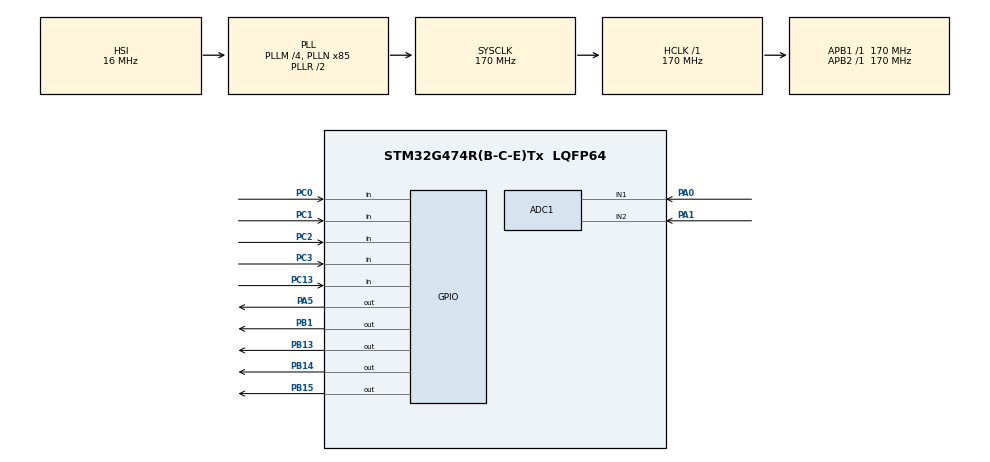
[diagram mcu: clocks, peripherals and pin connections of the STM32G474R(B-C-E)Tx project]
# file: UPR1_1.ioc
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ADC1.Channel-0\#ChannelRegularConversion=ADC_CHANNEL_1
ADC1.Channel-1\#ChannelRegularConversion=ADC_CHANNEL_2
ADC1.NbrOfConversion=2
ADC1.NbrOfConversionFlag=1
ADC1.OffsetNumber-0\#ChannelRegularConversion=ADC_OFFSET_NONE
ADC1.OffsetNumber-1\#ChannelRegularConversion=ADC_OFFSET_NONE
ADC1.Rank-0\#ChannelRegularConversion=1
ADC1.Rank-1\#ChannelRegularConversion=2
ADC1.SamplingTime-0\#ChannelRegularConversion=ADC_SAMPLETIME_2CYCLES_5
ADC1.SamplingTime-1\#ChannelRegularConversion=ADC_SAMPLETIME_2CYCLES_5
ADC1.master=1
FREERTOS.Tasks01=defaultTask,24,128,StartDefaultTask,Default,NULL,Dynamic,NULL,NULL;T10ms,8,128,Task10ms,Default,NULL,Dynamic,NULL,NULL;T100ms,8,128,Task100ms,Default,NULL,Dynamic,NULL,NULL
Mcu.Family=STM32G4
Mcu.Name=STM32G474R(B-C-E)Tx
Mcu.Package=LQFP64
NUCLEO-G474RE.BUTTON=1
NUCLEO-G474RE.LD2=true
NUCLEO-G474RE.VCP=true
NVIC.ADC1_2_IRQn=true\:5\:0\:false\:false\:true\:true\:true\:true\:true
NVIC.EXTI15_10_IRQn=true\:5\:0\:false\:false\:true\:true\:true\:true\:true
NVIC.PriorityGroup=NVIC_PRIORITYGROUP_4
PA0.Mode=IN1-Single-Ended
PA0.Signal=ADC1_IN1
PA1.Mode=IN2-Single-Ended
PA1.Signal=ADC1_IN2
PA13.GPIO_Label=T_SWDIO
PA13.Signal=SYS_JTMS-SWDIO
PA14.GPIO_Label=T_SWCLK
PA14.Signal=SYS_JTCK-SWCLK
PA2.Signal=LPUART1_TX
PA3.Signal=LPUART1_RX
PA5.Signal=GPIO_Output
PB1.Signal=GPIO_Output
PB13.Signal=GPIO_Output
PB14.Signal=GPIO_Output
PB15.Signal=GPIO_Output
PB3.GPIO_Label=T_SWO
PB3.Signal=SYS_JTDO-SWO
PC0.GPIO_PuPd=GPIO_PULLUP
PC0.Signal=GPIO_Input
PC1.GPIO_PuPd=GPIO_PULLUP
PC1.Signal=GPIO_Input
PC13.Signal=GPIO_Input
PC14-OSC32_IN.GPIO_Label=RCC_OSC32_IN
PC14-OSC32_IN.Signal=RCC_OSC32_IN
PC15-OSC32_OUT.GPIO_Label=RCC_OSC32_OUT
PC15-OSC32_OUT.Signal=RCC_OSC32_OUT
PC2.GPIO_PuPd=GPIO_PULLUP
PC2.Signal=GPIO_Input
PC3.GPIO_PuPd=GPIO_PULLUP
PC3.Signal=GPIO_Input
PF0-OSC_IN.GPIO_Label=RCC_OSC_IN
PF0-OSC_IN.Signal=RCC_OSC_IN
PF1-OSC_OUT.GPIO_Label=RCC_OSC_OUT
PF1-OSC_OUT.Signal=RCC_OSC_OUT
ProjectManager.HeapSize=0x200
ProjectManager.StackSize=0x400
ProjectManager.TargetToolchain=STM32CubeIDE
RCC.ADC12Freq_Value=170000000
RCC.ADC345Freq_Value=170000000
RCC.AHBFreq_Value=170000000
RCC.APB1Freq_Value=170000000
RCC.APB1TimFreq_Value=170000000
RCC.APB2Freq_Value=170000000
RCC.APB2TimFreq_Value=170000000
RCC.CortexFreq_Value=170000000
RCC.EXTERNAL_CLOCK_VALUE=12288000
RCC.HCLKFreq_Value=170000000
RCC.HSE_VALUE=24000000
RCC.HSI48_VALUE=48000000
RCC.HSI_VALUE=16000000
RCC.LSE_VALUE=32768
RCC.PLLM=RCC_PLLM_DIV4
RCC.PLLN=85
RCC.RTCClockSelection=RCC_RTCCLKSOURCE_LSE
RCC.SYSCLKFreq_VALUE=170000000
RCC.SYSCLKSource=RCC_SYSCLKSOURCE_PLLCLK
RCC.USBFreq_Value=170000000
RCC.VCOOutputFreq_Value=340000000
VP_FREERTOS_VS_CMSIS_V2.Mode=CMSIS_V2
VP_NUCLEO-G474RE_VS_BSP_COMMON.Mode=COMMON
VP_SYS_VS_DBSignals.Mode=DisableDeadBatterySignals
board=NUCLEO-G474RE

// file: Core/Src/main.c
/* USER CODE BEGIN Header */
/**
  ******************************************************************************
  * @file           : main.c
  * @brief          : Main program body
  ******************************************************************************
  * @attention
  *
  * Copyright (c) 2024 STMicroelectronics.
  * All rights reserved.
  *
  * This software is licensed under terms that can be found in the LICENSE file
  * in the root directory of this software component.
  * If no LICENSE file comes with this software, it is provided AS-IS.
  *
  ******************************************************************************
  */
/* USER CODE END Header */
#include "main.h"
#include "cmsis_os.h"

/* USER CODE BEGIN PM */
char Button1State=1;

char Button2State=1;

char Button3State=1;

char Button4State=1;

uint32_t bufferValues[2];

//void FrMove(void)
//{
//	 HAL_GPIO_WritePin(GPIOB, GPIO_PIN_1, 1);
//}
//void BackMove(void)
//{
//	 HAL_GPIO_WritePin(GPIOB, GPIO_PIN_2, 1);
//}
//void UpMove(void)
//{
//
//	 HAL_GPIO_WritePin(GPIOB, GPIO_PIN_14, Button3State);
//
//}
//void DownMove(void)
//{
//
//	 HAL_GPIO_WritePin(GPIOB, GPIO_PIN_14, Button3State);
//
//}
/* USER CODE END PM */

COM_InitTypeDef BspCOMInit;
ADC_HandleTypeDef hadc1;

/* Definitions for defaultTask */
osThreadId_t defaultTaskHandle;
const osThreadAttr_t defaultTask_attributes = {
  .name = "defaultTask",
  .priority = (osPriority_t) osPriorityNormal,
  .stack_size = 128 * 4
};
/* Definitions for T10ms */
osThreadId_t T10msHandle;
const osThreadAttr_t T10ms_attributes = {
  .name = "T10ms",
  .priority = (osPriority_t) osPriorityLow,
  .stack_size = 128 * 4
};
/* Definitions for T100ms */
osThreadId_t T100msHandle;
const osThreadAttr_t T100ms_attributes = {
  .name = "T100ms",
  .priority = (osPriority_t) osPriorityLow,
  .stack_size = 128 * 4
};
/* USER CODE BEGIN PV */
volatile uint8_t ledState = 0; // Variable to hold LED state
/* USER CODE END PV */

void SystemClock_Config(void);
static void MX_GPIO_Init(void);
static void MX_ADC1_Init(void);
void StartDefaultTask(void *argument);
void Task10ms(void *argument);
void Task100ms(void *argument);

/* USER CODE BEGIN PFP */
void toggleLED(void);
/* USER CODE END PFP */

/* USER CODE BEGIN 0 */
void toggleLED(void) {
    if (ledState) {
        BSP_LED_Off(LED_GREEN);
        ledState = 0;
    } else {
        BSP_LED_On(LED_GREEN);
        ledState = 1;
    }
}
/* USER CODE END 0 */

int main(void)
{

  /* USER CODE BEGIN 1 */
	uint8_t Value=0;
  /* USER CODE END 1 */

  /* MCU Configuration--------------------------------------------------------*/

  /* Reset of all peripherals, Initializes the Flash interface and the Systick. */
  HAL_Init();

  /* Configure the system clock */
  SystemClock_Config();

  /* Initialize all configured peripherals */
  MX_GPIO_Init();
  MX_ADC1_Init();
  /* USER CODE BEGIN 2 */
    BSP_LED_Init(LED_GREEN); // Initialize the LED
  /* USER CODE END 2 */

  /* Init scheduler */
  osKernelInitialize();

  /* Create the thread(s) */
  /* creation of defaultTask */
  defaultTaskHandle = osThreadNew(StartDefaultTask, NULL, &defaultTask_attributes);

  /* creation of T10ms */
  T10msHandle = osThreadNew(Task10ms, NULL, &T10ms_attributes);

  /* creation of T100ms */
  T100msHandle = osThreadNew(Task100ms, NULL, &T100ms_attributes);

  /* Initialize led */
  BSP_LED_Init(LED_GREEN);

  /* Initialize USER push-button, will be used to trigger an interrupt each time it's pressed.*/
  BSP_PB_Init(BUTTON_USER, BUTTON_MODE_EXTI);

  /* Initialize COM1 port (115200, 8 bits (7-bit data + 1 stop bit), no parity */
  BspCOMInit.BaudRate   = 115200;
  BspCOMInit.WordLength = COM_WORDLENGTH_8B;
  BspCOMInit.StopBits   = COM_STOPBITS_1;
  BspCOMInit.Parity     = COM_PARITY_NONE;
  BspCOMInit.HwFlowCtl  = COM_HWCONTROL_NONE;
  if (BSP_COM_Init(COM1, &BspCOMInit) != BSP_ERROR_NONE)
  {
    Error_Handler();
  }

  /* Start scheduler */
  osKernelStart();

  /* We should never get here as control is now taken by the scheduler */

  /* Infinite loop */
    while (1)
    {

    /* USER CODE BEGIN 3 */
        // Main loop does nothing, waiting for interrupts32
    }
  /* USER CODE END 3 */
}

void SystemClock_Config(void)
{
  RCC_OscInitTypeDef RCC_OscInitStruct = {0};
  RCC_ClkInitTypeDef RCC_ClkInitStruct = {0};

  /** Configure the main internal regulator output voltage
  */
  HAL_PWREx_ControlVoltageScaling(PWR_REGULATOR_VOLTAGE_SCALE1_BOOST);

  /** Initializes the RCC Oscillators according to the specified parameters
  * in the RCC_OscInitTypeDef structure.
  */
  RCC_OscInitStruct.OscillatorType = RCC_OSCILLATORTYPE_HSI;
  RCC_OscInitStruct.HSIState = RCC_HSI_ON;
  RCC_OscInitStruct.HSICalibrationValue = RCC_HSICALIBRATION_DEFAULT;
  RCC_OscInitStruct.PLL.PLLState = RCC_PLL_ON;
  RCC_OscInitStruct.PLL.PLLSource = RCC_PLLSOURCE_HSI;
  RCC_OscInitStruct.PLL.PLLM = RCC_PLLM_DIV4;
  RCC_OscInitStruct.PLL.PLLN = 85;
  RCC_OscInitStruct.PLL.PLLP = RCC_PLLP_DIV2;
  RCC_OscInitStruct.PLL.PLLQ = RCC_PLLQ_DIV2;
  RCC_OscInitStruct.PLL.PLLR = RCC_PLLR_DIV2;
  if (HAL_RCC_OscConfig(&RCC_OscInitStruct) != HAL_OK)
  {
    Error_Handler();
  }

  /** Initializes the CPU, AHB and APB buses clocks
  */
  RCC_ClkInitStruct.ClockType = RCC_CLOCKTYPE_HCLK|RCC_CLOCKTYPE_SYSCLK
                              |RCC_CLOCKTYPE_PCLK1|RCC_CLOCKTYPE_PCLK2;
  RCC_ClkInitStruct.SYSCLKSource = RCC_SYSCLKSOURCE_PLLCLK;
  RCC_ClkInitStruct.AHBCLKDivider = RCC_SYSCLK_DIV1;
  RCC_ClkInitStruct.APB1CLKDivider = RCC_HCLK_DIV1;
  RCC_ClkInitStruct.APB2CLKDivider = RCC_HCLK_DIV1;

  if (HAL_RCC_ClockConfig(&RCC_ClkInitStruct, FLASH_LATENCY_4) != HAL_OK)
  {
    Error_Handler();
  }
}

static void MX_ADC1_Init(void)
{

  ADC_MultiModeTypeDef multimode = {0};
  ADC_ChannelConfTypeDef sConfig = {0};

  /** Common config
  */
  hadc1.Instance = ADC1;
  hadc1.Init.ClockPrescaler = ADC_CLOCK_SYNC_PCLK_DIV4;
  hadc1.Init.Resolution = ADC_RESOLUTION_12B;
  hadc1.Init.DataAlign = ADC_DATAALIGN_RIGHT;
  hadc1.Init.GainCompensation = 0;
  hadc1.Init.ScanConvMode = ADC_SCAN_ENABLE;
  hadc1.Init.EOCSelection = ADC_EOC_SINGLE_CONV;
  hadc1.Init.LowPowerAutoWait = DISABLE;
  hadc1.Init.ContinuousConvMode = DISABLE;
  hadc1.Init.NbrOfConversion = 2;
  hadc1.Init.DiscontinuousConvMode = DISABLE;
  hadc1.Init.ExternalTrigConv = ADC_SOFTWARE_START;
  hadc1.Init.ExternalTrigConvEdge = ADC_EXTERNALTRIGCONVEDGE_NONE;
  hadc1.Init.DMAContinuousRequests = DISABLE;
  hadc1.Init.Overrun = ADC_OVR_DATA_PRESERVED;
  hadc1.Init.OversamplingMode = DISABLE;
  if (HAL_ADC_Init(&hadc1) != HAL_OK)
  {
    Error_Handler();
  }

  /** Configure the ADC multi-mode
  */
  multimode.Mode = ADC_MODE_INDEPENDENT;
  if (HAL_ADCEx_MultiModeConfigChannel(&hadc1, &multimode) != HAL_OK)
  {
    Error_Handler();
  }

  /** Configure Regular Channel
  */
  sConfig.Channel = ADC_CHANNEL_1;
  sConfig.Rank = ADC_REGULAR_RANK_1;
  sConfig.SamplingTime = ADC_SAMPLETIME_2CYCLES_5;
  sConfig.SingleDiff = ADC_SINGLE_ENDED;
  sConfig.OffsetNumber = ADC_OFFSET_NONE;
  sConfig.Offset = 0;
  if (HAL_ADC_ConfigChannel(&hadc1, &sConfig) != HAL_OK)
  {
    Error_Handler();
  }

  /** Configure Regular Channel
  */
  sConfig.Channel = ADC_CHANNEL_2;
  sConfig.Rank = ADC_REGULAR_RANK_2;
  if (HAL_ADC_ConfigChannel(&hadc1, &sConfig) != HAL_OK)
  {
    Error_Handler();
  }

}

static void MX_GPIO_Init(void)
{
  GPIO_InitTypeDef GPIO_InitStruct = {0};

  /* GPIO Ports Clock Enable */
  __HAL_RCC_GPIOC_CLK_ENABLE();
  __HAL_RCC_GPIOF_CLK_ENABLE();
  __HAL_RCC_GPIOA_CLK_ENABLE();
  __HAL_RCC_GPIOB_CLK_ENABLE();

  /*Configure GPIO pin Output Level */
  HAL_GPIO_WritePin(GPIOB, GPIO_PIN_1|GPIO_PIN_13|GPIO_PIN_14|GPIO_PIN_15, GPIO_PIN_RESET);

  /*Configure GPIO pins : PC0 PC1 PC2 PC3 */
  GPIO_InitStruct.Pin = GPIO_PIN_0|GPIO_PIN_1|GPIO_PIN_2|GPIO_PIN_3;
  GPIO_InitStruct.Mode = GPIO_MODE_INPUT;
  GPIO_InitStruct.Pull = GPIO_PULLUP;
  HAL_GPIO_Init(GPIOC, &GPIO_InitStruct);

  /*Configure GPIO pins : PB1 PB13 PB14 PB15 */
  GPIO_InitStruct.Pin = GPIO_PIN_1|GPIO_PIN_13|GPIO_PIN_14|GPIO_PIN_15;
  GPIO_InitStruct.Mode = GPIO_MODE_OUTPUT_PP;
  GPIO_InitStruct.Pull = GPIO_NOPULL;
  GPIO_InitStruct.Speed = GPIO_SPEED_FREQ_LOW;
  HAL_GPIO_Init(GPIOB, &GPIO_InitStruct);

}

/* USER CODE BEGIN 4 */
/**
  * @brief  This function handles EXTI line 13 interrupt.
  */
//void EXTI15_10_IRQHandler(void)
//{
//    /* Check if the interrupt was generated by EXTI line 13 */
//    if (__HAL_GPIO_EXTI_GET_IT(GPIO_PIN_13) != RESET)
//    {
//        __HAL_GPIO_EXTI_CLEAR_IT(GPIO_PIN_13); // Clear the interrupt flag
//        toggleLED(); // Toggle the LED state
//    }
//}
/* USER CODE END 4 */

void StartDefaultTask(void *argument)
{
  for(;;)
  {
    osDelay(1);
  }
}

void Task10ms(void *argument)
{
  /* USER CODE BEGIN Task10ms */
  /* Infinite loop */
  for(;;)
  {
	 if (!Button1State)
	 {
		HAL_GPIO_WritePin(GPIOB, GPIO_PIN_13, 0);
		HAL_GPIO_WritePin(GPIOB, GPIO_PIN_14, 0);

		HAL_GPIO_WritePin(GPIOB, GPIO_PIN_2, 0);
		HAL_GPIO_WritePin(GPIOB, GPIO_PIN_1, 1);
	}

	 else if (!Button2State)
	 {
		HAL_GPIO_WritePin(GPIOB, GPIO_PIN_13, 0);
		HAL_GPIO_WritePin(GPIOB, GPIO_PIN_14, 0);
		HAL_GPIO_WritePin(GPIOB, GPIO_PIN_1, 0);
		HAL_GPIO_WritePin(GPIOB, GPIO_PIN_2, 1);

	}

	else if (!Button3State)
	 {
		HAL_GPIO_WritePin(GPIOB, GPIO_PIN_1, 0);
		HAL_GPIO_WritePin(GPIOB, GPIO_PIN_2, 0);

		HAL_GPIO_WritePin(GPIOB, GPIO_PIN_14, 0);
		HAL_GPIO_WritePin(GPIOB, GPIO_PIN_13, 1);
	}

	else if (!Button4State)
	 {
		HAL_GPIO_WritePin(GPIOB, GPIO_PIN_1, 0);
		HAL_GPIO_WritePin(GPIOB, GPIO_PIN_2, 0);

		HAL_GPIO_WritePin(GPIOB, GPIO_PIN_13, 0);
		HAL_GPIO_WritePin(GPIOB, GPIO_PIN_14, 1);
	}
	else
	{
		HAL_GPIO_WritePin(GPIOB, GPIO_PIN_1, 0);
		HAL_GPIO_WritePin(GPIOB, GPIO_PIN_2, 0);
		HAL_GPIO_WritePin(GPIOB, GPIO_PIN_13, 0);
		HAL_GPIO_WritePin(GPIOB, GPIO_PIN_14, 0);
	}
	 __HAL_ADC_CLEAR_FLAG(&hadc1, ADC_FLAG_EOSMP);
	 __HAL_ADC_ENABLE_IT(&hadc1, ADC_IT_EOSMP);
	 HAL_ADC_Start_IT(&hadc1);

    osDelay(10);
  }
  /* USER CODE END Task10ms */
}

void Task100ms(void *argument)
{
  /* USER CODE BEGIN Task100ms */
  /* Infinite loop */
  for(;;)
  {
	  Button1State=HAL_GPIO_ReadPin(GPIOC, GPIO_PIN_0);
	  Button2State=HAL_GPIO_ReadPin(GPIOC, GPIO_PIN_1);
	  Button3State=HAL_GPIO_ReadPin(GPIOC, GPIO_PIN_2);
	  Button4State=HAL_GPIO_ReadPin(GPIOC, GPIO_PIN_3);
	  osDelay(100);
  }
  /* USER CODE END Task100ms */
}

void Error_Handler(void)
{
    __disable_irq();
    while (1)
    {
    }
}

void HAL_ADC_ConvCpltCallback(ADC_HandleTypeDef *hadc)
{
  /* Prevent unused argument(s) compilation warning */
  UNUSED(hadc);

  bufferValues[0] = HAL_ADC_GetValue(&hadc1);
  bufferValues[1] = HAL_ADC_GetValue(&hadc1);

  /* NOTE : This function should not be modified. When the callback is needed,
            function HAL_ADC_ConvCpltCallback must be implemented in the user file.
   */
}
